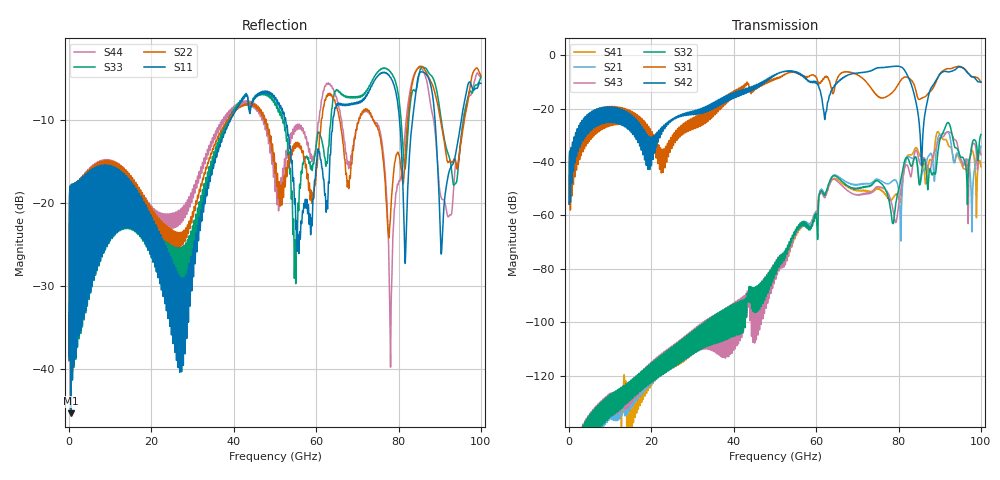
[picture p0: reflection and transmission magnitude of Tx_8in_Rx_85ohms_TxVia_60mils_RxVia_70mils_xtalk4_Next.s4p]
! Info: Touchstone file created by Circ.  Input file=Tx_8in_Rx_85ohms_TxVia_60mils_RxVia_70mils.circ
# Hz S RI R 50
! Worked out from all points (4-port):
!   10000 points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, 10 MHz to 100 GHz, reference 50 ohm
!   strongest paths, dB at 10 MHz, 25.01 GHz, 50.01 GHz, 75.01 GHz, 100 GHz:
!     S42: -55.7, -24.1, -7.2, -4.7, -10.0
!     S31: -55.7, -32.4, -8.6, -15.5, -10.2
!     S32: -194.8, -109.2, -77.7, -47.1, -29.7
!     S43: -159.1, -108.9, -77.7, -49.3, -37.2
!     S21: -195.7, -109.9, -79.0, -46.6, -34.1
!     S41: -160.9, -109.6, -79.2, -50.1, -41.7
!   lowest |S11| = -45.3 dB at 400 MHz (marker M1), VSWR 1.01, Z = 49.5 + j0.0189 ohm
!   |S11| at or under -10 dB: start of sweep to 39.12 GHz; 52.62 GHz to 64.05 GHz (11.43 GHz wide, 19.6 % of centre); 88.87 GHz to 95.21 GHz (6.335 GHz wide, 6.88 % of centre) (the widest 3 of 4)
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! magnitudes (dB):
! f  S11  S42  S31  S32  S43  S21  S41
! 10 MHz  -38.9  -55.7  -55.7  -194.8  -159.1  -195.7  -160.9
! 400 MHz  -45.3  -39.7  -39.7  -163.7  -163.5  -165.0  -163.8
! 49.39 GHz  -6.8  -8.2  -9.6  -85.0  -87.3  -84.8  -87.0
! 64.23 GHz  -9.5  -12.1  -14.1  -45.2  -46.4  -45.0  -46.2
! 80.54 GHz  -11.9  -4.3  -9.4  -47.0  -50.6  -69.2  -54.8
! 85.58 GHz  -4.1  -41.3  -16.1  -44.0  -40.8  -45.3  -37.8
! 100 GHz  -5.5  -10.0  -10.2  -29.7  -37.2  -34.1  -41.7
